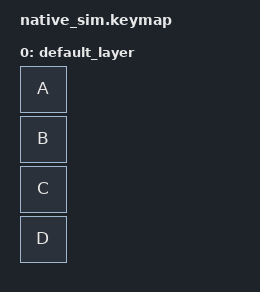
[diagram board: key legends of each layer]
#include <dt-bindings/zmk/keys.h>
#include <behaviors.dtsi>
#include <dt-bindings/zmk/kscan_mock.h>

/ {
	keymap {
		compatible = "zmk,keymap";

		default_layer {
			bindings = <
			&kp A
			&kp B
			&kp C
			&kp D
			>;
		};
	};
};

&kscan {
	events = <
	ZMK_MOCK_PRESS(0,0,10)
	ZMK_MOCK_RELEASE(0,0,10)
	ZMK_MOCK_PRESS(0,1,10)
	ZMK_MOCK_RELEASE(0,1,10)
	ZMK_MOCK_PRESS(1,0,10)
	ZMK_MOCK_RELEASE(1,0,10)
	ZMK_MOCK_PRESS(1,1,10)
	ZMK_MOCK_RELEASE(1,1,10)
	>;
};
